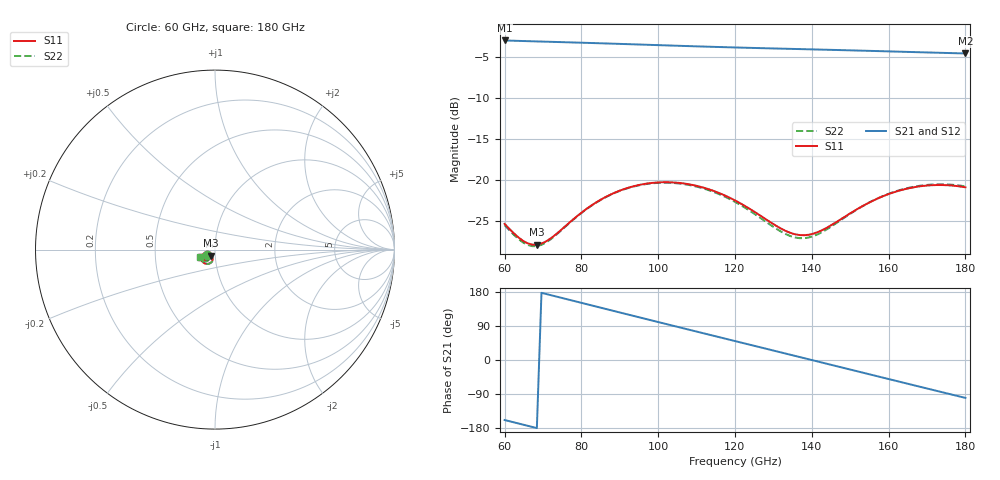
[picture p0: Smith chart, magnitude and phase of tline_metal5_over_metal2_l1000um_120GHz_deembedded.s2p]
! Created with skrf 2.2.0 (http://scikit-rf.org).
# GHz S DB R 50.0
! Port[1] = P1
! Port[2] = P2
!freq dBS11 angS11 dBS21 angS21 dBS12 angS12 dBS22 angS22
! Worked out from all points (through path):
!   101 points, 60 GHz to 180 GHz, reference 50 ohm
!   highest |S21| = -2.96 dB at 60 GHz (marker M1); lowest = -4.5 dB at 180 GHz (marker M2)
!   group delay of S21, straight-line fit = 6.98 ps
!   lowest |S11| = -27.9 dB at 68.4 GHz (marker M3), VSWR 1.08, Z = 47.8 - j3.26 ohm
!   |S11| at or under -10 dB: start of sweep to end of sweep
!   |S22| runs from -28.1 to -20.3 dB; largest |S21 - S12| = 7.6e-14
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60  -25.36 -146.0  -2.96 -158.4  -2.96 -158.4  -25.52 -146.1
64.8  -27.43 -135.6  -3.03 -170.6  -3.03 -170.6  -27.63 -135.3
68.4  -27.91 -122.3  -3.08 -179.7  -3.08 -179.7  -28.08 -121.6
70.8  -27.50 -114.0  -3.11 174.2  -3.11 174.2  -27.63 -113.1
74.4  -26.23 -105.8  -3.16 165.1  -3.16 165.1  -26.30 -104.9
80.4  -23.85 -103.4  -3.24 149.8  -3.24 149.8  -23.89 -102.9
86.4  -22.06 -108.8  -3.33 134.6  -3.33 134.6  -22.09 -108.5
91.2  -21.10 -115.6  -3.40 122.4  -3.40 122.4  -21.13 -115.4
96  -20.52 -123.3  -3.47 110.3  -3.47 110.3  -20.56 -123.3
100.8  -20.28 -131.4  -3.54 98.1  -3.54 98.1  -20.34 -131.4
105.6  -20.36 -139.3  -3.61 86.1  -3.61 86.1  -20.44 -139.4
110.4  -20.76 -146.7  -3.68 74.0  -3.68 74.0  -20.86 -146.9
120  -22.50 -157.9  -3.81 50.0  -3.81 50.0  -22.67 -158.2
127.2  -24.54 -159.4  -3.90 32.0  -3.90 32.0  -24.83 -159.6
133.2  -26.22 -152.2  -3.97 16.9  -3.97 16.9  -26.61 -151.6
136.8  -26.73 -144.0  -4.01 7.9  -4.01 7.9  -27.11 -142.5
140.4  -26.56 -135.1  -4.05 -1.1  -4.05 -1.1  -26.86 -132.9
145.2  -25.48 -126.5  -4.11 -13.1  -4.11 -13.1  -25.64 -124.0
150  -24.08 -123.4  -4.17 -25.2  -4.17 -25.2  -24.13 -121.1
160.8  -21.59 -129.5  -4.30 -52.2  -4.30 -52.2  -21.55 -127.8
170.4  -20.66 -141.2  -4.43 -76.2  -4.43 -76.2  -20.58 -139.7
180  -20.90 -153.4  -4.55 -100.0  -4.55 -100.0  -20.78 -152.1
